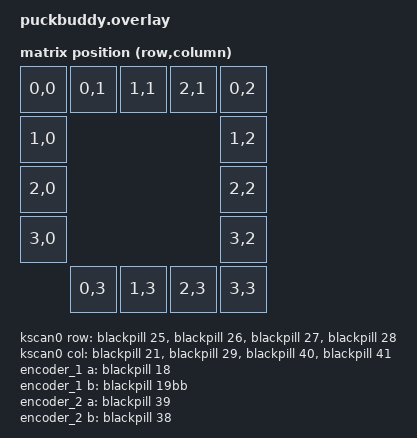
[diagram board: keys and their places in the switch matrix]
/*
 * Copyright (c) 2022 The ZMK Contributors
 *
 * SPDX-License-Identifier: MIT
 */

#include <dt-bindings/zmk/matrix_transform.h>

/ {
    chosen {
        zephyr,display = &oled;
        zmk,kscan = &kscan0;
        zmk,matrix_transform = &default_transform;
    };

    kscan0: kscan {
        compatible = "zmk,kscan-gpio-matrix";
        label = "KSCAN";

        diode-direction = "col2row";
        row-gpios
            = <&blackpill 25 (GPIO_ACTIVE_HIGH | GPIO_PULL_DOWN)>
            , <&blackpill 26 (GPIO_ACTIVE_HIGH | GPIO_PULL_DOWN)>
            , <&blackpill 27 (GPIO_ACTIVE_HIGH | GPIO_PULL_DOWN)>
            , <&blackpill 28 (GPIO_ACTIVE_HIGH | GPIO_PULL_DOWN)>
            ;
        col-gpios
            = <&blackpill 21 GPIO_ACTIVE_HIGH>
            , <&blackpill 29 GPIO_ACTIVE_HIGH>
            , <&blackpill 40 GPIO_ACTIVE_HIGH>
            , <&blackpill 41 GPIO_ACTIVE_HIGH>
            ;
    };

    default_transform: keymap_transform_0 {
        compatible = "zmk,matrix-transform";
        columns = <12>;
        rows = <4>;
        map = <
            RC(0,0) RC(0,1) RC(1,1) RC(2,1)         RC(0,2)
            RC(1,0)                                 RC(1,2)
            RC(2,0)                                 RC(2,2)
            RC(3,0)                                 RC(3,2)
                    RC(0,3) RC(1,3) RC(2,3) RC(3,3)
        >;
    };

    encoder_1: encoder_1 {
        compatible = "alps,ec11";
        label = "Encoder 1";
        a-gpios = <&blackpill 18 (GPIO_ACTIVE_LOW | GPIO_PULL_UP)>;
        b-gpios = <&blackpill 19bb (GPIO_ACTIVE_LOW | GPIO_PULL_UP)>;
        resolution = <4>;
        status = "disabled";
    };

    encoder_2: encoder_2 {
        compatible = "alps,ec11";
        label = "Encoder 2";
        a-gpios = <&blackpill 39 (GPIO_ACTIVE_LOW | GPIO_PULL_UP)>;
        b-gpios = <&blackpill 38 (GPIO_ACTIVE_LOW | GPIO_PULL_UP)>;
        resolution = <4>;
        status = "disabled";
    };

};

&blackpill_i2c {
	status = "okay";

	oled: ssd1306@3c {
		compatible = "solomon,ssd1306fb";
		reg = <0x3c>;
		label = "DISPLAY";
		width = <128>;
		height = <32>;
		segment-offset = <0>;
		page-offset = <0>;
		display-offset = <0>;
		multiplex-ratio = <31>;
		//segment-remap;
		//com-invdir;
		com-sequential;
		prechargep = <0x22>;
	};
};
